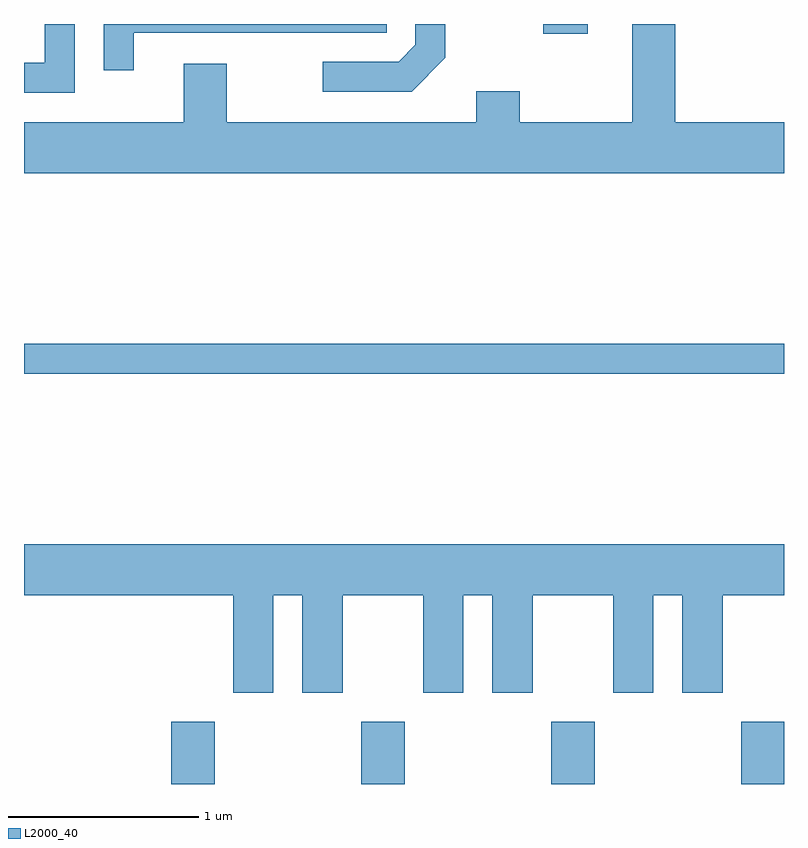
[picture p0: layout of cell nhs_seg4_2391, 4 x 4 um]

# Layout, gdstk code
import gdstk
lib = gdstk.Library(unit=1e-6, precision=1e-09)
def R(c, l, rs):  # rectangles x0, y0, x1, y1
    for r in rs: c.add(gdstk.rectangle(r[:2], r[2:], *l))
def A(c, l, x, y, w, h, nx, ny, dx, dy):  # array of equal rectangles
    R(c, l, [(x+i*dx, y+j*dy, x+i*dx+w, y+j*dy+h) for i in range(nx) for j in range(ny)])
def P(c, l, *ps):  # polygons
    for p in ps: c.add(gdstk.Polygon(p, *l))
L2000_40 = (2000, 40)

nhs_seg4_2391 = lib.new_cell('nhs_seg4_2391')
A(nhs_seg4_2391, L2000_40, 256.386, 1275.982, 0.228, 0.327, 3, 1, 1, 0)
R(nhs_seg4_2391, L2000_40, [(259.386,1275.982,259.611,1276.309), (255.611,1278.141,259.611,1278.299), (258.343,1279.931,258.579,1279.982)])
P(nhs_seg4_2391, L2000_40, [(259.611,1279.464),(259.039,1279.464),(259.039,1279.982),(258.811,1279.982),(258.811,1279.464),(258.219,1279.464),(258.219,1279.629),(257.991,1279.629),(257.991,1279.464),(256.679,1279.464),(256.679,1279.774),(256.451,1279.774),(256.451,1279.464),(255.611,1279.464),(255.611,1279.196),(259.611,1279.196)],
  [(257.829,1279.804),(257.829,1279.982),(257.671,1279.982),(257.671,1279.872),(257.584,1279.784),(257.183,1279.784),(257.183,1279.626),(257.652,1279.626)],
  [(255.879,1279.982),(255.721,1279.982),(255.721,1279.779),(255.611,1279.779),(255.611,1279.621),(255.879,1279.621)],
  [(256.189,1279.936),(257.519,1279.936),(257.519,1279.982),(256.031,1279.982),(256.031,1279.738),(256.189,1279.738)],
  [(256.924,1276.976),(257.076,1276.976),(257.076,1276.461),(257.289,1276.461),(257.289,1276.976),(257.711,1276.976),(257.711,1276.461),(257.924,1276.461),(257.924,1276.976),(258.076,1276.976),(258.076,1276.461),(258.289,1276.461),(258.289,1276.976),(258.711,1276.976),(258.711,1276.461),(258.924,1276.461),(258.924,1276.976),(259.076,1276.976),(259.076,1276.461),(259.289,1276.461),(259.289,1276.976),(259.611,1276.976),(259.611,1277.244),(255.611,1277.244),(255.611,1276.976),(256.711,1276.976),(256.711,1276.461),(256.924,1276.461)])

lib.write_gds('nhs_seg4_2391.gds')
